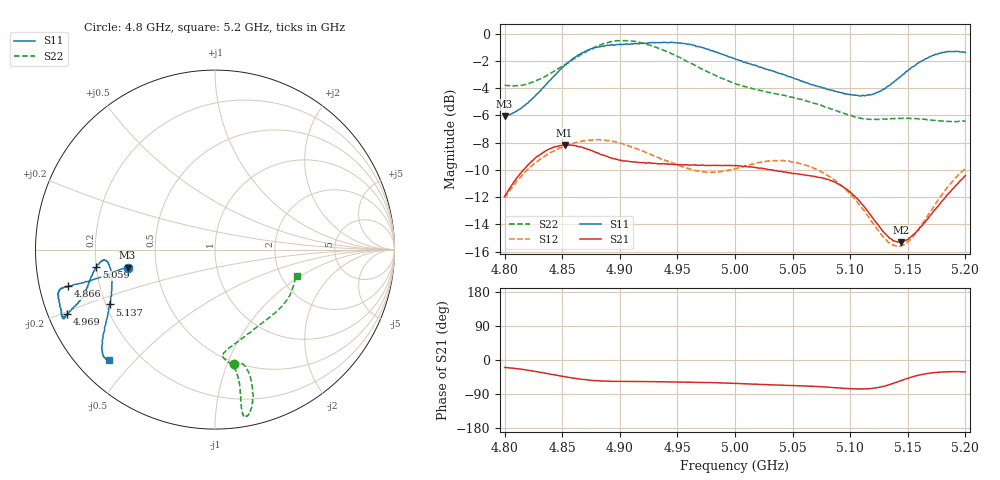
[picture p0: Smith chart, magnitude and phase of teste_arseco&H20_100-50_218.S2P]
! Network Analyzer HP8722D
! Hewlett-Packard
! Data name: Linha & Wilkinson
! Saver's name: Rodrigo Anjos
! Comments: Teste da utilização de aquisição
! continua pelo VNA HP8722D
! Time and date: 6/5/2025 14:23
!  Frequency  S11  S21  S12  S22
# HZ  S  MA R 50
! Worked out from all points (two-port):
!   401 points, 4.8 GHz to 5.2 GHz, reference 50 ohm
!   highest |S21| = -8.17 dB at 4.852 GHz (marker M1); lowest = -15.3 dB at 5.144 GHz (marker M2)
!   |S21| within 3 dB of the highest: 4.806 GHz to 5.092 GHz (286.3 MHz wide, 5.79 % of centre); 5.191541 GHz to end of sweep
!   lowest |S11| = -6.1 dB at 4.8 GHz (marker M3), VSWR 2.98, Z = 16.9 - j4.54 ohm
!   |S11| at or under -10 dB: nowhere
!   |S22| runs from -6.5 to -0.5 dB; largest |S21 - S12| = 0.62
!   S11 on the Smith chart (normalised r, x): 4.8 GHz: 0.34, -0.09; 4.866 GHz: 0.09, -0.12; 4.969 GHz: 0.06, -0.21; 5.059 GHz: 0.20, -0.07; 5.137 GHz: 0.22, -0.23; 5.2 GHz: 0.09, -0.42
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4.8e9  0.4974 -168.3  0.2526 -19.8  0.2493 -141.0  0.6478 -80.4
4.826e9  0.5883 -167.3  0.3474 -29.8  0.3335 -144.7  0.6688 -75.6
4.852e9  0.7637 -165.9  0.3905 -43.9  0.3863 -149.5  0.7696 -74.6
4.866e9  0.8435 -166.0  0.3843 -50.5  0.4022 -152.0  0.8376 -75.3
4.867e9  0.8507 -165.8  0.3831 -51.0  0.4028 -152.1  0.843 -75.5
4.88e9  0.8912 -165.5  0.3651 -54.8  0.4083 -154.2  0.9006 -76.8
4.898e9  0.9124 -163.0  0.3451 -56.4  0.3979 -156.5  0.9437 -78.9
4.914e9  0.9203 -159.7  0.3379 -56.5  0.3786 -157.1  0.9367 -80.3
4.934e9  0.9286 -156.5  0.3328 -57.6  0.3508 -155.8  0.8819 -80.5
4.969e9  0.897 -156.5  0.3285 -59.0  0.3129 -147.4  0.7512 -79.8
5e9  0.8085 -159.2  0.3277 -61.9  0.3197 -137.3  0.6566 -81.3
5.034e9  0.7277 -165.3  0.3144 -65.9  0.3421 -134.4  0.6031 -85.6
5.059e9  0.6676 -171.5  0.3036 -68.3  0.331 -136.2  0.5715 -84.4
5.067e9  0.6503 -173.0  0.3004 -69.1  0.3229 -136.8  0.5579 -82.6
5.082e9  0.6214 -174.7  0.2901 -72.0  0.299 -138.4  0.5319 -77.2
5.101e9  0.5978 -172.0  0.2601 -76.0  0.2551 -138.9  0.5011 -66.6
5.116e9  0.5966 -165.6  0.2209 -75.9  0.2121 -135.6  0.4843 -55.9
5.134e9  0.6455 -154.1  0.1777 -65.1  0.1703 -120.6  0.4868 -43.3
5.137e9  0.6602 -152.4  0.1741 -62.3  0.168 -116.9  0.4886 -41.5
5.144e9  0.6978 -148.8  0.1714 -54.5  0.166 -107.4  0.4883 -37.4
5.174e9  0.8412 -138.6  0.2265 -32.8  0.2369 -80.5  0.4799 -23.9
5.2e9  0.8531 -133.7  0.301 -31.5  0.3196 -77.0  0.4785 -17.6
